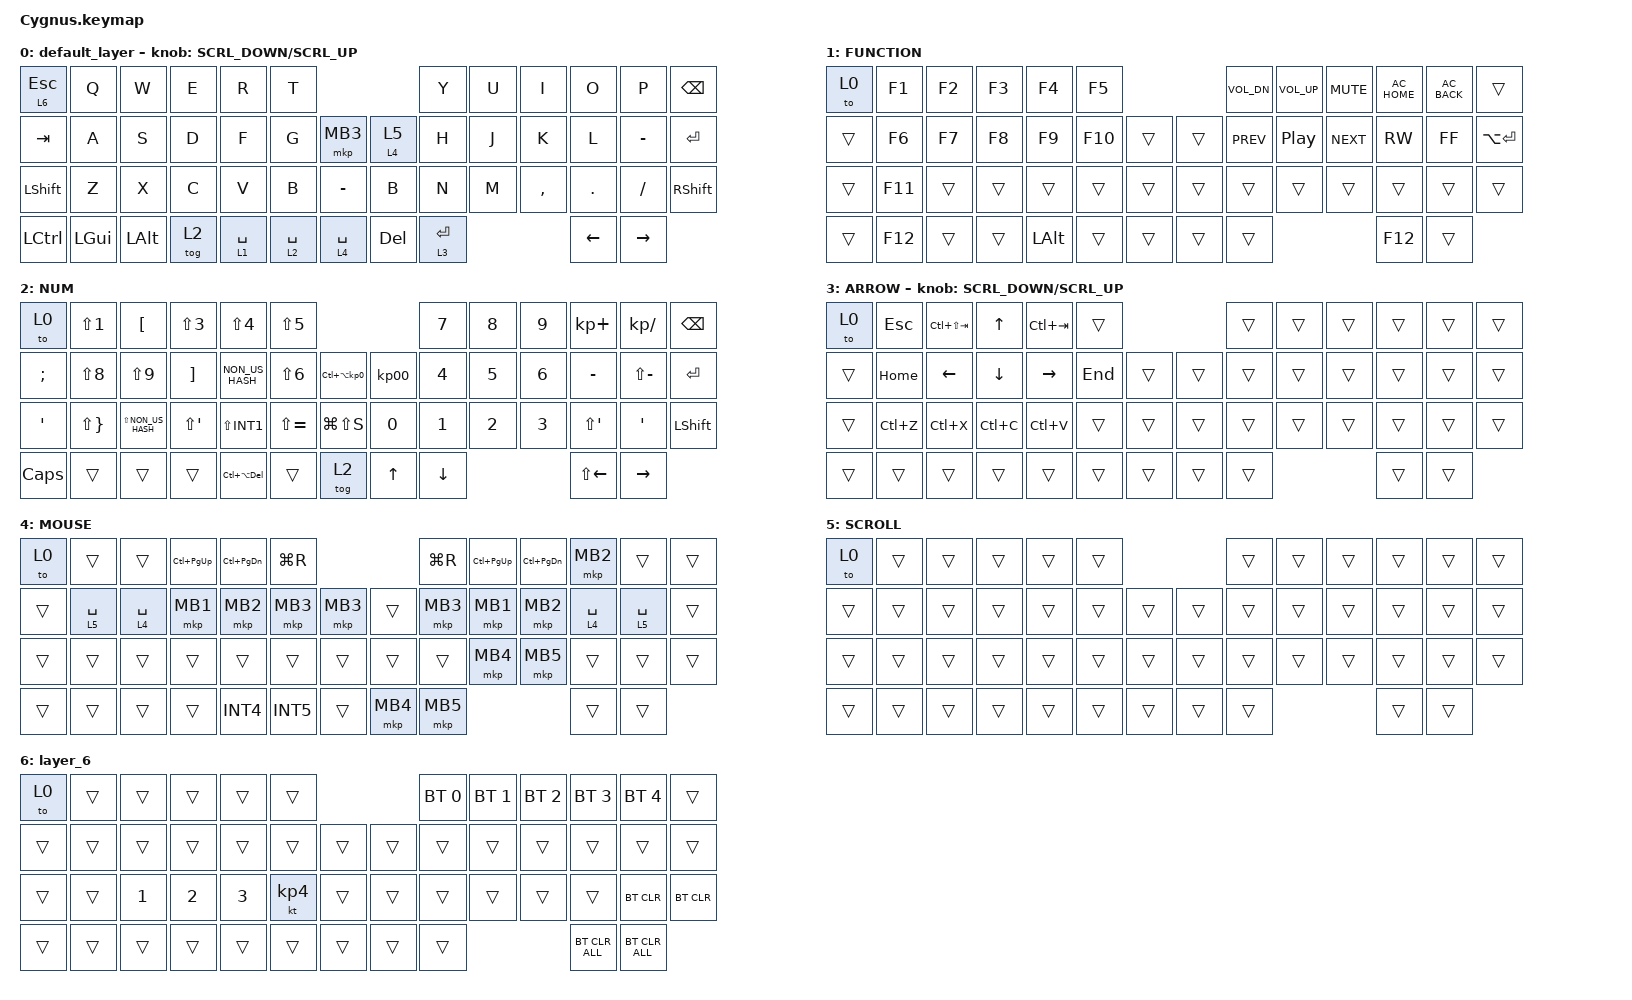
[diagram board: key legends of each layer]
#define ZMK_POINTING_DEFAULT_SCRL_VAL 120    // default: 10

#include <behaviors.dtsi>
#include <dt-bindings/zmk/bt.h>
#include <dt-bindings/zmk/keys.h>
#include <dt-bindings/zmk/pointing.h>

#define MOUSE 4
#define SCROLL 5
#define NUM 6

// 実機ZMK Studio に存在する「Keypad 00」(HID usage 0xB0)。ZMK標準の #define が無いので自前定義。
#define KP_00 (ZMK_HID_USAGE(HID_USAGE_KEY, HID_USAGE_KEY_KEYPAD_00))

&mt {
    flavor = "balanced";
    quick-tap-ms = <0>;
};

/ {
    combos {
        compatible = "zmk,combos";

        double_quotation {
            bindings = <&kp DOUBLE_QUOTES>;
            key-positions = <20 21>;
        };
    };

    macros {
        to_layer_0: to_layer_0 {
            compatible = "zmk,behavior-macro-one-param";
            #binding-cells = <1>;
            bindings = <&to 0 &macro_param_1to1 &kp MACRO_PLACEHOLDER>;
            label = "TO_LAYER_0";
        };
    };

    behaviors {
        lt_to_layer_0: lt_to_layer_0 {
            compatible = "zmk,behavior-hold-tap";
            label = "LAYER_TAP_TO_0";
            bindings = <&mo>, <&to_layer_0>;

            #binding-cells = <2>;
            tapping-term-ms = <200>;
        };

        ROTATE: ROTATE {
            compatible = "zmk,behavior-sensor-rotate-var";
            label = "ROTATE";
            #sensor-binding-cells = <2>;
            bindings = <&msc>, <&msc>;

            tap-ms = <20>;
        };

        scrl_ms: scrl_ms {
            compatible = "zmk,behavior-hold-tap";
            label = "SCRL_MS";
            bindings = <&tog>, <&tog>;
            #binding-cells = <2>;
            tapping-term-ms = <200>;
            flavor = "tap-preferred";
        };
    };

    keymap {
        compatible = "zmk,keymap";

        default_layer {
            bindings = <
&lt 6 ESC  &kp Q     &kp W     &kp E          &kp R        &kp T                                   &kp Y      &kp U        &kp I      &kp O      &kp P    &kp BSPC
&kp TAB    &kp A     &kp S     &kp D          &kp F        &kp G      &mkp MB3         &scrl_ms 4 5        &kp H      &kp J        &kp K      &kp L      &kp MINUS  &kp RET
&kp LSHFT  &kp Z     &kp X     &kp C          &kp V        &kp B      &kp MINUS        &kp B        &kp N      &kp M        &kp COMMA  &kp DOT    &kp FSLH   &kp RSHFT
&kp LCTRL  &kp LGUI  &kp LALT  &tog 2  &lt 1 SPACE        &lt 2 SPACE  &lt 4 SPACE     &kp DEL      &lt 3 RET                                    &kp LEFT &kp RIGHT
            >;

            sensor-bindings = <&ROTATE SCRL_DOWN SCRL_UP>;
        };

        FUNCTION {
            bindings = <
&to 0 &kp F1 &kp F2 &kp F3 &kp F4 &kp F5                     &kp C_VOL_DN &kp C_VOL_UP &kp C_MUTE &kp C_AC_HOME &kp C_AC_BACK &trans
&trans &kp F6 &kp F7 &kp F8 &kp F9 &kp F10 &trans     &trans &kp C_PREV &kp C_PP &kp C_NEXT &kp C_RW &kp C_FF &kp LA(RET)
&trans &kp F11 &trans &trans &trans &trans &trans     &trans &trans &trans &trans &trans &trans &trans
&trans &kp F12 &trans &trans &kp LALT &trans &trans     &trans &trans &kp F12 &trans
            >;
        };

        NUM {
            bindings = <
            &to 0  &kp LS(N1)  &kp LEFT_BRACKET  &kp LS(N3)  &kp LS(N4)  &kp LS(N5)  &kp N7  &kp N8  &kp N9  &kp KP_PLUS  &kp KP_SLASH  &kp BSPC
            &kp SEMI  &kp LS(N8)  &kp LS(N9)  &kp RIGHT_BRACKET  &kp NON_US_HASH  &kp LS(N6)  &kp LC(LA(KP_N0))  &kp KP_00  &kp N4  &kp N5  &kp N6  &kp MINUS  &kp LS(MINUS)  &kp RET
            &kp SQT  &kp LS(RIGHT_BRACE)  &kp LS(NON_US_HASH)  &kp LS(SQT)  &kp LS(INT1)  &kp LS(EQUAL)  &kp LG(LS(S))  &kp N0  &kp N1  &kp N2  &kp N3  &kp LS(SQT)  &kp SQT  &kp LSHFT
            &kp CAPS  &trans  &trans  &trans  &kp LC(LA(DEL))  &trans  &tog 2  &kp UP  &kp DOWN  &kp LS(LEFT)  &kp RIGHT
            >;
        };

        ARROW {
            bindings = <
&to 0  &kp ESC   &kp LC(LS(TAB))  &kp UP    &kp LC(TAB)  &trans                        &trans  &trans  &trans  &trans  &trans  &trans
&trans  &kp HOME  &kp LEFT         &kp DOWN  &kp RIGHT    &kp END  &trans     &trans    &trans  &trans  &trans  &trans  &trans  &trans
&trans  &kp LC(Z) &kp LC(X)        &kp LC(C) &kp LC(V)    &trans   &trans      &trans    &trans  &trans  &trans  &trans  &trans  &trans
&trans  &trans    &trans           &trans    &trans       &trans   &trans      &trans    &trans                          &trans  &trans
            >;

            sensor-bindings = <&ROTATE SCRL_DOWN SCRL_UP>;
        };

        MOUSE {
            bindings = <
            &to 0  &trans  &trans  &kp LC(PG_UP)  &kp LC(PG_DN)  &kp LG(R)  &kp LG(R)  &kp LC(PG_UP)  &kp LC(PG_DN)  &mkp MB2  &trans  &trans
            &trans  &lt 5 SPACE  &lt 4 SPACE  &mkp MB1  &mkp MB2  &mkp MB3  &mkp MB3  &trans  &mkp MB3  &mkp MB1  &mkp MB2  &lt 4 SPACE  &lt 5 SPACE  &trans
            &trans  &trans  &trans  &trans  &trans  &trans  &trans  &trans  &trans  &mkp MB4  &mkp MB5  &trans  &trans  &trans
            &trans  &trans  &trans  &trans  &kp INT4  &kp INT5  &trans  &mkp MB4  &mkp MB5  &trans  &trans
            >;
        };

        SCROLL {
            bindings = <
&to 0  &trans  &trans  &trans  &trans  &trans                    &trans  &trans  &trans  &trans  &trans  &trans
&trans  &trans  &trans  &trans  &trans  &trans  &trans    &trans  &trans  &trans  &trans  &trans  &trans  &trans
&trans  &trans  &trans  &trans  &trans  &trans  &trans    &trans  &trans  &trans  &trans  &trans  &trans  &trans
&trans  &trans  &trans  &trans  &trans  &trans  &trans    &trans  &trans                          &trans  &trans
            >;
        };

        layer_6 {
            bindings = <
&to 0  &trans  &trans     &trans     &trans     &trans                        &bt BT_SEL 0  &bt BT_SEL 1  &bt BT_SEL 2  &bt BT_SEL 3  &bt BT_SEL 4    &trans
&trans  &trans  &trans     &trans     &trans    &trans    &trans    &trans   &trans        &trans        &trans        &trans        &trans          &trans
&trans  &trans  &kp N1     &kp N2     &kp N3    &kt KP_N4  &trans    &trans   &trans        &trans        &trans        &trans        &bt BT_CLR      &bt BT_CLR
&trans  &trans  &trans     &trans     &trans     &trans     &trans    &trans   &trans                                                  &bt BT_CLR_ALL  &bt BT_CLR_ALL
            >;
        };
    };
};
